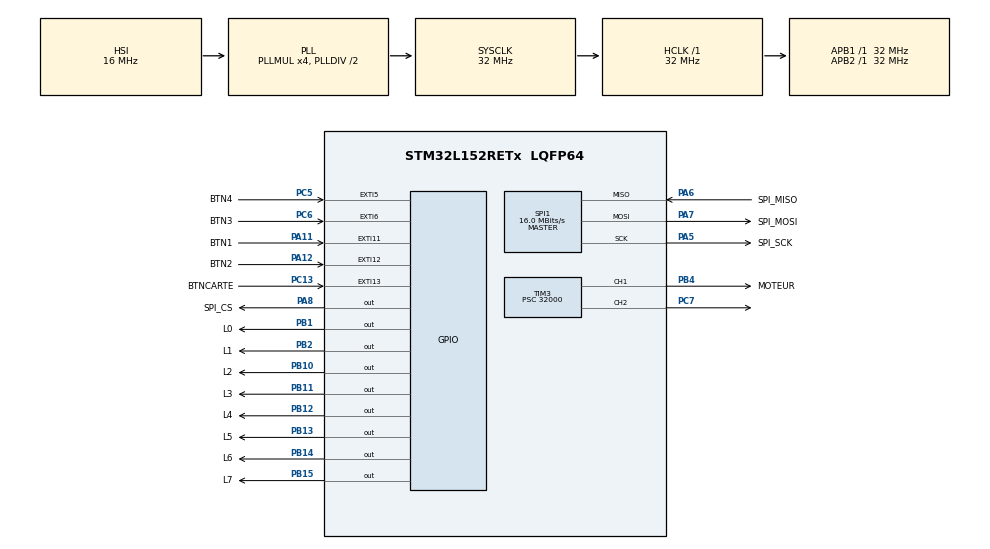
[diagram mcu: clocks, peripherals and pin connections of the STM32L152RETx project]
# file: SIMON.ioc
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Mcu.Family=STM32L1
Mcu.Name=STM32L152RETx
Mcu.Package=LQFP64
NVIC.EXTI15_10_IRQn=true\:0\:0\:false\:false\:true\:true\:true\:true
NVIC.EXTI9_5_IRQn=true\:0\:0\:false\:false\:true\:true\:true\:true
NVIC.PriorityGroup=NVIC_PRIORITYGROUP_4
NVIC.TIM3_IRQn=true\:0\:0\:false\:false\:true\:true\:true\:true
PA11.GPIO_Label=BTN1
PA11.Signal=GPXTI11
PA12.GPIO_Label=BTN2
PA12.Signal=GPXTI12
PA13.Mode=Serial_Wire
PA13.Signal=SYS_JTMS-SWDIO
PA14.Mode=Serial_Wire
PA14.Signal=SYS_JTCK-SWCLK
PA5.GPIO_Label=SPI_SCK
PA5.Mode=Full_Duplex_Master
PA5.Signal=SPI1_SCK
PA6.GPIO_Label=SPI_MISO
PA6.Mode=Full_Duplex_Master
PA6.Signal=SPI1_MISO
PA7.GPIO_Label=SPI_MOSI
PA7.Mode=Full_Duplex_Master
PA7.Signal=SPI1_MOSI
PA8.GPIO_Label=SPI_CS
PA8.Signal=GPIO_Output
PB1.GPIO_Label=L0
PB1.Signal=GPIO_Output
PB10.GPIO_Label=L2
PB10.Signal=GPIO_Output
PB11.GPIO_Label=L3
PB11.Signal=GPIO_Output
PB12.GPIO_Label=L4
PB12.Signal=GPIO_Output
PB13.GPIO_Label=L5
PB13.Signal=GPIO_Output
PB14.GPIO_Label=L6
PB14.Signal=GPIO_Output
PB15.GPIO_Label=L7
PB15.Signal=GPIO_Output
PB2.GPIO_Label=L1
PB2.Signal=GPIO_Output
PB4.GPIO_Label=MOTEUR
PB4.GPIO_ModeDefaultPP=GPIO_MODE_AF_PP
PB4.GPIO_PuPd=GPIO_NOPULL
PB4.GPIO_Speed=GPIO_SPEED_FREQ_HIGH
PB4.Signal=S_TIM3_CH1
PC13-WKUP2.GPIO_Label=BTNCARTE
PC13-WKUP2.Signal=GPXTI13
PC5.GPIO_Label=BTN4
PC5.Signal=GPXTI5
PC6.GPIO_Label=BTN3
PC6.Signal=GPXTI6
PC7.Signal=S_TIM3_CH2
ProjectManager.HeapSize=0x200
ProjectManager.StackSize=0x400
ProjectManager.TargetToolchain=STM32CubeIDE
RCC.48MHZClocksFreq_Value=32000000
RCC.AHBFreq_Value=32000000
RCC.APB1Freq_Value=32000000
RCC.APB1TimFreq_Value=32000000
RCC.APB2Freq_Value=32000000
RCC.APB2TimFreq_Value=32000000
RCC.HCLKFreq_Value=32000000
RCC.HSE_VALUE=24000000
RCC.HSI_VALUE=16000000
RCC.LSE_VALUE=32768
RCC.MSI_VALUE=2097000
RCC.PLLMUL=RCC_PLL_MUL4
RCC.SYSCLKFreq_VALUE=32000000
RCC.SYSCLKSource=RCC_SYSCLKSOURCE_PLLCLK
RCC.VCOOutputFreq_Value=64000000
SH.S_TIM3_CH1.0=TIM3_CH1,PWM Generation1 CH1
SH.S_TIM3_CH2.0=TIM3_CH2,PWM Generation2 CH2
SPI1.BaudRatePrescaler=SPI_BAUDRATEPRESCALER_2
SPI1.CalculateBaudRate=16.0 MBits/s
SPI1.Direction=SPI_DIRECTION_2LINES
SPI1.Mode=SPI_MODE_MASTER
SPI1.VirtualType=VM_MASTER
TIM3.Channel-PWM\ Generation1\ CH1=TIM_CHANNEL_1
TIM3.Channel-PWM\ Generation2\ CH2=TIM_CHANNEL_2
TIM3.Period=1000
TIM3.Prescaler=32000
TIM3.Pulse-PWM\ Generation1\ CH1=500
TIM3.Pulse-PWM\ Generation2\ CH2=65535
VP_TIM3_VS_ClockSourceINT.Mode=Internal
board=custom

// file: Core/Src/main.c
/* USER CODE BEGIN Header */
/**
 ******************************************************************************
 * @file           : main.c
 * @brief          : Main program body
 ******************************************************************************
 * @attention
 *
 * Copyright (c) 2024 STMicroelectronics.
 * All rights reserved.
 *
 * This software is licensed under terms that can be found in the LICENSE file
 * in the root directory of this software component.
 * If no LICENSE file comes with this software, it is provided AS-IS.
 *
 ******************************************************************************
 */
/* USER CODE END Header */
#include "main.h"

SPI_HandleTypeDef hspi1;

TIM_HandleTypeDef htim3;

/* USER CODE BEGIN PV */
int statut = 0;
int statutjoueur = 0;
int nb_max = 4;
int delai = 1000;
int uaction = 5;
int jeu = 0;
/* USER CODE END PV */

void SystemClock_Config(void);
static void MX_GPIO_Init(void);
static void MX_TIM3_Init(void);
static void MX_SPI1_Init(void);

/* USER CODE BEGIN 0 */
int __io_putchar(int ch){
	ITM_SendChar(ch);
	return ch;
}
/* USER CODE END 0 */

int main(void)
{

	/* MCU Configuration--------------------------------------------------------*/

	/* Reset of all peripherals, Initializes the Flash interface and the Systick. */
	HAL_Init();

	/* Configure the system clock */
	SystemClock_Config();

	/* Initialize all configured peripherals */
	MX_GPIO_Init();
	MX_TIM3_Init();
	MX_SPI1_Init();
	/* USER CODE BEGIN 2 */
	MAX7219_Clear();
	main_cpp();

	/*
	HAL_GPIO_WritePin(GPIOB, L0_Pin|L1_Pin|L2_Pin|L3_Pin|L4_Pin|L5_Pin|L6_Pin|L7_Pin, GPIO_PIN_SET);

	MAX7219_Clear();
	MAX7219_Init();
	MAX7219_DisplayChar(1,'T', 1); // Pas de point décimal
	MAX7219_DisplayChar(2,'E', 1); // Avec point décimal
	MAX7219_DisplayChar(3,'S', 1); // Pas de point décimal
	MAX7219_DisplayChar(4,'T', 1);

	int indice = 5;
	for (int i =0; i<indice; i++){
		HAL_TIM_Base_Start(&htim3);
		HAL_TIM_PWM_Start(&htim3,TIM_CHANNEL_2);
		HAL_Delay(500);
		HAL_TIM_PWM_Stop(&htim3,TIM_CHANNEL_2);
	}

	HAL_Delay(1000);

	HAL_TIM_PWM_Init(&htim3);
	HAL_TIM_Base_Start(&htim3);
	HAL_TIM_PWM_Start(&htim3,TIM_CHANNEL_1);
	htim3.Instance->CCR1 = 250;
	HAL_Delay(2000);
	HAL_TIM_PWM_Stop(&htim3,TIM_CHANNEL_1);
	 */

	/* USER CODE END 2 */

	/* Infinite loop */
	while (1)
	{

	}
}

void SystemClock_Config(void)
{
	RCC_OscInitTypeDef RCC_OscInitStruct = {0};
	RCC_ClkInitTypeDef RCC_ClkInitStruct = {0};

	/** Configure the main internal regulator output voltage
	 */
	__HAL_PWR_VOLTAGESCALING_CONFIG(PWR_REGULATOR_VOLTAGE_SCALE1);

	/** Initializes the RCC Oscillators according to the specified parameters
	 * in the RCC_OscInitTypeDef structure.
	 */
	RCC_OscInitStruct.OscillatorType = RCC_OSCILLATORTYPE_HSI;
	RCC_OscInitStruct.HSIState = RCC_HSI_ON;
	RCC_OscInitStruct.HSICalibrationValue = RCC_HSICALIBRATION_DEFAULT;
	RCC_OscInitStruct.PLL.PLLState = RCC_PLL_ON;
	RCC_OscInitStruct.PLL.PLLSource = RCC_PLLSOURCE_HSI;
	RCC_OscInitStruct.PLL.PLLMUL = RCC_PLL_MUL4;
	RCC_OscInitStruct.PLL.PLLDIV = RCC_PLL_DIV2;
	if (HAL_RCC_OscConfig(&RCC_OscInitStruct) != HAL_OK)
	{
		Error_Handler();
	}

	/** Initializes the CPU, AHB and APB buses clocks
	 */
	RCC_ClkInitStruct.ClockType = RCC_CLOCKTYPE_HCLK|RCC_CLOCKTYPE_SYSCLK
			|RCC_CLOCKTYPE_PCLK1|RCC_CLOCKTYPE_PCLK2;
	RCC_ClkInitStruct.SYSCLKSource = RCC_SYSCLKSOURCE_PLLCLK;
	RCC_ClkInitStruct.AHBCLKDivider = RCC_SYSCLK_DIV1;
	RCC_ClkInitStruct.APB1CLKDivider = RCC_HCLK_DIV1;
	RCC_ClkInitStruct.APB2CLKDivider = RCC_HCLK_DIV1;

	if (HAL_RCC_ClockConfig(&RCC_ClkInitStruct, FLASH_LATENCY_1) != HAL_OK)
	{
		Error_Handler();
	}
}

static void MX_SPI1_Init(void)
{

	/* SPI1 parameter configuration*/
	hspi1.Instance = SPI1;
	hspi1.Init.Mode = SPI_MODE_MASTER;
	hspi1.Init.Direction = SPI_DIRECTION_2LINES;
	hspi1.Init.DataSize = SPI_DATASIZE_8BIT;
	hspi1.Init.CLKPolarity = SPI_POLARITY_LOW;
	hspi1.Init.CLKPhase = SPI_PHASE_1EDGE;
	hspi1.Init.NSS = SPI_NSS_SOFT;
	hspi1.Init.BaudRatePrescaler = SPI_BAUDRATEPRESCALER_2;
	hspi1.Init.FirstBit = SPI_FIRSTBIT_MSB;
	hspi1.Init.TIMode = SPI_TIMODE_DISABLE;
	hspi1.Init.CRCCalculation = SPI_CRCCALCULATION_DISABLE;
	hspi1.Init.CRCPolynomial = 10;
	if (HAL_SPI_Init(&hspi1) != HAL_OK)
	{
		Error_Handler();
	}

}

static void MX_TIM3_Init(void)
{

	TIM_ClockConfigTypeDef sClockSourceConfig = {0};
	TIM_MasterConfigTypeDef sMasterConfig = {0};
	TIM_OC_InitTypeDef sConfigOC = {0};

	htim3.Instance = TIM3;
	htim3.Init.Prescaler = 32000;
	htim3.Init.CounterMode = TIM_COUNTERMODE_UP;
	htim3.Init.Period = 500;
	htim3.Init.ClockDivision = TIM_CLOCKDIVISION_DIV1;
	htim3.Init.AutoReloadPreload = TIM_AUTORELOAD_PRELOAD_DISABLE;
	if (HAL_TIM_Base_Init(&htim3) != HAL_OK)
	{
		Error_Handler();
	}
	sClockSourceConfig.ClockSource = TIM_CLOCKSOURCE_INTERNAL;
	if (HAL_TIM_ConfigClockSource(&htim3, &sClockSourceConfig) != HAL_OK)
	{
		Error_Handler();
	}
	if (HAL_TIM_PWM_Init(&htim3) != HAL_OK)
	{
		Error_Handler();
	}
	sMasterConfig.MasterOutputTrigger = TIM_TRGO_RESET;
	sMasterConfig.MasterSlaveMode = TIM_MASTERSLAVEMODE_DISABLE;
	if (HAL_TIMEx_MasterConfigSynchronization(&htim3, &sMasterConfig) != HAL_OK)
	{
		Error_Handler();
	}
	sConfigOC.OCMode = TIM_OCMODE_PWM1;
	sConfigOC.Pulse = 500;
	sConfigOC.OCPolarity = TIM_OCPOLARITY_HIGH;
	sConfigOC.OCFastMode = TIM_OCFAST_DISABLE;
	if (HAL_TIM_PWM_ConfigChannel(&htim3, &sConfigOC, TIM_CHANNEL_1) != HAL_OK)
	{
		Error_Handler();
	}
	sConfigOC.Pulse = 0;
	if (HAL_TIM_PWM_ConfigChannel(&htim3, &sConfigOC, TIM_CHANNEL_2) != HAL_OK)
	{
		Error_Handler();
	}
	HAL_TIM_MspPostInit(&htim3);

}

static void MX_GPIO_Init(void)
{
	GPIO_InitTypeDef GPIO_InitStruct = {0};

	/* GPIO Ports Clock Enable */
	__HAL_RCC_GPIOC_CLK_ENABLE();
	__HAL_RCC_GPIOA_CLK_ENABLE();
	__HAL_RCC_GPIOB_CLK_ENABLE();

	/*Configure GPIO pin Output Level */
	HAL_GPIO_WritePin(GPIOB, L0_Pin|L1_Pin|L2_Pin|L3_Pin
			|L4_Pin|L5_Pin|L6_Pin|L7_Pin, GPIO_PIN_RESET);

	/*Configure GPIO pin Output Level */
	HAL_GPIO_WritePin(SPI_CS_GPIO_Port, SPI_CS_Pin, GPIO_PIN_RESET);

	/*Configure GPIO pins : BTNCARTE_Pin BTN4_Pin BTN3_Pin */
	GPIO_InitStruct.Pin = BTNCARTE_Pin|BTN4_Pin|BTN3_Pin;
	GPIO_InitStruct.Mode = GPIO_MODE_IT_RISING;
	GPIO_InitStruct.Pull = GPIO_NOPULL;
	HAL_GPIO_Init(GPIOC, &GPIO_InitStruct);

	/*Configure GPIO pins : L0_Pin L1_Pin L2_Pin L3_Pin
                           L4_Pin L5_Pin L6_Pin L7_Pin */
	GPIO_InitStruct.Pin = L0_Pin|L1_Pin|L2_Pin|L3_Pin
			|L4_Pin|L5_Pin|L6_Pin|L7_Pin;
	GPIO_InitStruct.Mode = GPIO_MODE_OUTPUT_PP;
	GPIO_InitStruct.Pull = GPIO_NOPULL;
	GPIO_InitStruct.Speed = GPIO_SPEED_FREQ_LOW;
	HAL_GPIO_Init(GPIOB, &GPIO_InitStruct);

	/*Configure GPIO pin : SPI_CS_Pin */
	GPIO_InitStruct.Pin = SPI_CS_Pin;
	GPIO_InitStruct.Mode = GPIO_MODE_OUTPUT_PP;
	GPIO_InitStruct.Pull = GPIO_NOPULL;
	GPIO_InitStruct.Speed = GPIO_SPEED_FREQ_LOW;
	HAL_GPIO_Init(SPI_CS_GPIO_Port, &GPIO_InitStruct);

	/*Configure GPIO pins : BTN1_Pin BTN2_Pin */
	GPIO_InitStruct.Pin = BTN1_Pin|BTN2_Pin;
	GPIO_InitStruct.Mode = GPIO_MODE_IT_RISING;
	GPIO_InitStruct.Pull = GPIO_NOPULL;
	HAL_GPIO_Init(GPIOA, &GPIO_InitStruct);

	/* EXTI interrupt init*/
	HAL_NVIC_SetPriority(EXTI9_5_IRQn, 0, 0);
	HAL_NVIC_EnableIRQ(EXTI9_5_IRQn);

	HAL_NVIC_SetPriority(EXTI15_10_IRQn, 0, 0);
	HAL_NVIC_EnableIRQ(EXTI15_10_IRQn);

}

/* USER CODE BEGIN 4 */
void HAL_GPIO_EXTI_Callback(uint16_t GPIO_Pin){

	switch(GPIO_Pin){
		case BTNCARTE_Pin :
			HAL_GPIO_TogglePin(GPIOB, L0_Pin|L1_Pin|L2_Pin|L3_Pin|L4_Pin|L5_Pin|L6_Pin|L7_Pin);(GPIOB, L0_Pin|L1_Pin|L2_Pin|L3_Pin|L4_Pin|L5_Pin|L6_Pin|L7_Pin);
			break;

		case BTN1_Pin: //Moteur
			statut = 1;
			uaction = 0;
			break;

		case BTN2_Pin:
			statut = 2;
			uaction = 1;
			break;

		case BTN3_Pin:
			uaction = 2;
			break;

		case BTN4_Pin:
			uaction = 3;
			break;

		default:
			break;
	}
}

/* USER CODE END 4 */

void Error_Handler(void)
{
	__disable_irq();
	while (1)
	{
	}
}
